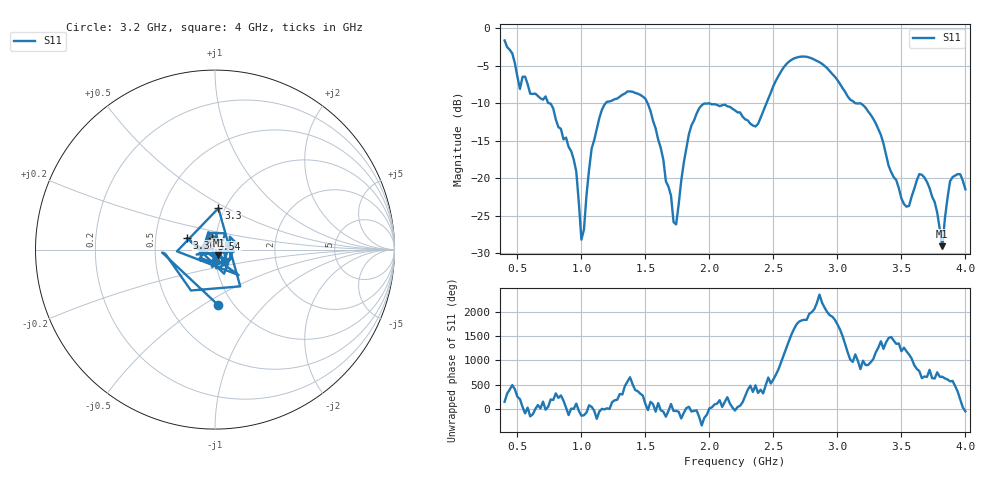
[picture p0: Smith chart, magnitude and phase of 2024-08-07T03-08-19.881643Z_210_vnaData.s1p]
!Created with skrf (http://scikit-rf.org).
# Hz S RI R 50.0
!freq ReS11 ImS11
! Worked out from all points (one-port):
!   181 points, 400 MHz to 4 GHz, reference 50 ohm
!   lowest |S11| = -29.1 dB at 3.82 GHz (marker M1), VSWR 1.07, Z = 51.9 - j3.07 ohm
!   |S11| at or under -10 dB: 740.8 MHz to 1.191 GHz (450.1 MHz wide, 46.6 % of centre); 1.516 GHz to 2.446 GHz (930.1 MHz wide, 46.9 % of centre); 3.139 GHz to end of sweep
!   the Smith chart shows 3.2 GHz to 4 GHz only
!   S11 on the Smith chart (normalised r, x): 3.2 GHz: 0.85, -0.58; 3.3 GHz: 0.93, +0.45; 3.36 GHz: 0.72, +0.10; 3.54 GHz: 0.96, +0.12; 4 GHz: 1.10, -0.14
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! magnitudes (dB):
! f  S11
! 400 MHz  -1.7
! 520 MHz  -8.1
! 720 MHz  -9.1
! 860 MHz  -14.8
! 960 MHz  -19.1
! 1 GHz  -28.2
! 1.08 GHz  -16.1
! 1.14 GHz  -12.0
! 1.3 GHz  -9.1
! 1.5 GHz  -9.4
! 1.62 GHz  -16.0
! 1.72 GHz  -25.9
! 1.76 GHz  -23.5
! 1.84 GHz  -14.1
! 1.92 GHz  -10.7
! 2.2 GHz  -11.0
! 2.36 GHz  -13.1
! 2.66 GHz  -4.1
! 3.1 GHz  -9.5
! 3.2 GHz  -10.3
! 3.3 GHz  -12.7
! 3.36 GHz  -15.4
! 3.54 GHz  -23.8
! 3.56 GHz  -23.7
! 3.68 GHz  -19.9
! 3.82 GHz  -29.1
! 3.88 GHz  -20.4
! 4 GHz  -21.5
